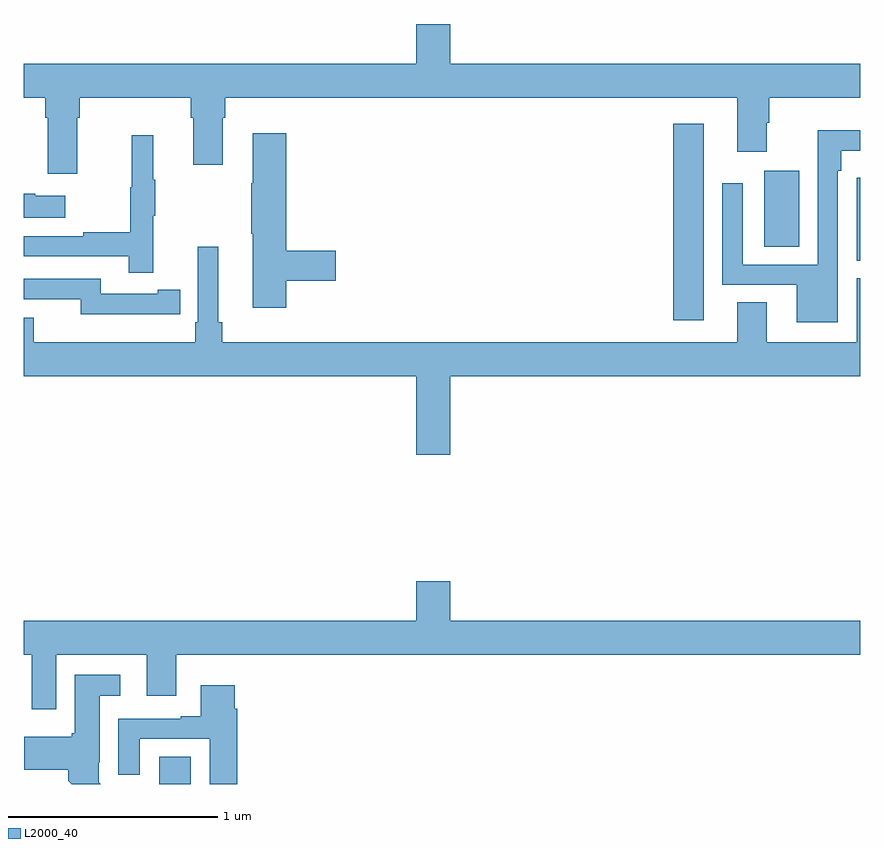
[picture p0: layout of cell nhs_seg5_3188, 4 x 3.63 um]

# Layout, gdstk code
import gdstk
lib = gdstk.Library(unit=1e-6, precision=1e-09)
def R(c, l, rs):  # rectangles x0, y0, x1, y1
    for r in rs: c.add(gdstk.rectangle(r[:2], r[2:], *l))
def P(c, l, *ps):  # polygons
    for p in ps: c.add(gdstk.Polygon(p, *l))
L2000_40 = (2000, 40)

nhs_seg5_3188 = lib.new_cell('nhs_seg5_3188')
R(nhs_seg5_3188, L2000_40, [(295.649,866.799,295.798,866.93), (298.106,869.016,298.252,869.956), (298.541,869.368,298.708,869.731)])
P(nhs_seg5_3188, L2000_40, [(295.255,869.984),(295.268,869.984),(295.268,870.08),(295.799,870.08),(295.799,869.984),(295.811,869.984),(295.811,869.76),(295.951,869.76),(295.951,869.984),(295.964,869.984),(295.964,870.08),(298.412,870.08),(298.412,869.823),(298.552,869.823),(298.552,869.96),(298.565,869.96),(298.565,870.08),(299,870.08),(299,870.244),(297.04,870.244),(297.04,870.433),(296.876,870.433),(296.876,870.244),(295,870.244),(295,870.08),(295.103,870.08),(295.103,869.984),(295.115,869.984),(295.115,869.718),(295.255,869.718)],
  [(298.893,869.732),(298.909,869.732),(298.909,869.828),(299,869.828),(299,869.926),(298.797,869.926),(298.797,869.283),(298.437,869.283),(298.437,869.671),(298.341,869.671),(298.341,869.187),(298.697,869.187),(298.697,869.006),(298.893,869.006)],
  [(296.255,869.206),(296.491,869.206),(296.491,869.348),(296.255,869.348),(296.255,869.911),(296.096,869.911),(296.096,869.672),(296.089,869.672),(296.089,869.431),(296.096,869.431),(296.096,869.076),(296.255,869.076)],
  [(295.619,869.515),(295.63,869.515),(295.63,869.689),(295.619,869.689),(295.619,869.902),(295.516,869.902),(295.516,869.652),(295.509,869.652),(295.509,869.438),(295.285,869.438),(295.285,869.418),(295,869.418),(295,869.322),(295.501,869.322),(295.501,869.244),(295.619,869.244)],
  [(299,869.698),(298.983,869.698),(298.983,869.585),(298.982,869.585),(298.982,869.302),(299,869.302)],
  [(295.198,869.611),(295.055,869.611),(295.055,869.621),(295,869.621),(295,869.507),(295.198,869.507)],
  [(297.04,868.748),(299,868.748),(299,869.217),(298.982,869.217),(298.982,868.912),(298.552,868.912),(298.552,869.102),(298.412,869.102),(298.412,868.912),(295.949,868.912),(295.949,869.008),(295.93,869.008),(295.93,869.368),(295.833,869.368),(295.833,869.008),(295.82,869.008),(295.82,868.912),(295.048,868.912),(295.048,869.029),(295,869.029),(295,868.748),(296.876,868.748),(296.876,868.374),(297.04,868.374)],
  [(295.64,869.046),(295.748,869.046),(295.748,869.162),(295.64,869.162),(295.64,869.142),(295.368,869.142),(295.368,869.214),(295,869.214),(295,869.118),(295.272,869.118),(295.272,869.045),(295.64,869.045)],
  [(295.155,867.416),(295.589,867.416),(295.589,867.222),(295.729,867.222),(295.729,867.416),(299,867.416),(299,867.58),(297.04,867.58),(297.04,867.769),(296.876,867.769),(296.876,867.58),(295,867.58),(295,867.416),(295.039,867.416),(295.039,867.156),(295.155,867.156)],
  [(295.359,866.808),(295.359,866.902),(295.363,866.902),(295.363,867.221),(295.462,867.221),(295.462,867.322),(295.244,867.322),(295.244,867.042),(295.23,867.042),(295.23,867.025),(295.002,867.025),(295.002,866.867),(295.214,866.867),(295.214,866.814),(295.229,866.799),(295.368,866.799)],
  [(296.021,867.158),(296.008,867.158),(296.008,867.271),(295.847,867.271),(295.847,867.124),(295.751,867.124),(295.751,867.111),(295.451,867.111),(295.451,866.844),(295.555,866.844),(295.555,867.015),(295.889,867.015),(295.889,866.799),(296.021,866.799)])

lib.write_gds('nhs_seg5_3188.gds')
